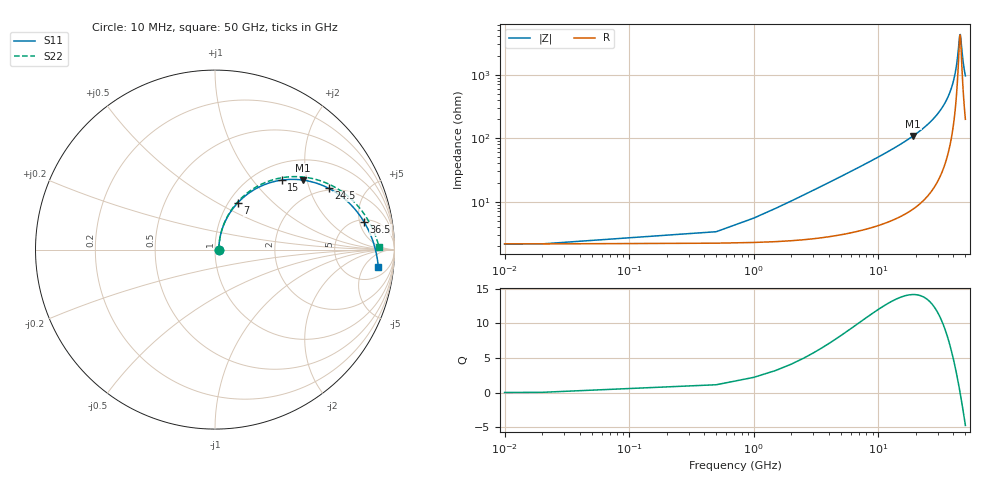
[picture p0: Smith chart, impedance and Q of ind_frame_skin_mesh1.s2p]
! Created with skrf 2.1.0 (http://scikit-rf.org).
# GHz S DB R 50.0
! Port[1] = P1
! Port[2] = P2
!freq dBS11 angS11 dBS21 angS21 dBS12 angS12 dBS22 angS22
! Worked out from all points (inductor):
!   102 points, 10 MHz to 50 GHz, reference 50 ohm
!   read as 1/Y11, port 2 shorted: L = 790 pH near 1.5 GHz
!   highest Q = 14.1 at 19 GHz (marker M1), where L = 902 pH
!   self-resonance near 45 GHz
!   S11 on the Smith chart (normalised r, x): 10 MHz: 1.04, +0.00; 7 GHz: 1.10, +0.63; 15 GHz: 1.31, +1.42; 24.5 GHz: 1.92, +2.71; 36.5 GHz: 5.44, +5.86; 50 GHz: 9, -11
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0.01  -33.51 1.2  -0.19 -0.0  -0.19 -0.0  -33.51 1.2
0.5  -30.18 44.4  -0.19 -1.6  -0.19 -1.6  -30.18 44.4
1  -26.16 60.7  -0.21 -3.1  -0.21 -3.1  -26.16 60.8
1.5  -23.15 66.9  -0.23 -4.6  -0.23 -4.6  -23.15 67.1
2  -20.87 69.6  -0.25 -6.1  -0.25 -6.1  -20.87 69.8
2.5  -19.05 70.6  -0.28 -7.5  -0.28 -7.5  -19.06 70.8
3.5  -16.30 70.5  -0.35 -10.4  -0.35 -10.4  -16.30 70.8
4.5  -14.25 69.1  -0.43 -13.2  -0.43 -13.2  -14.26 69.6
5.5  -12.64 67.2  -0.52 -16.0  -0.52 -16.0  -12.65 67.9
7  -10.75 64.0  -0.68 -20.0  -0.68 -20.0  -10.76 64.8
8.5  -9.29 60.6  -0.87 -23.9  -0.87 -23.9  -9.30 61.6
11.5  -7.13 53.8  -1.30 -31.3  -1.30 -31.3  -7.14 55.2
15  -5.42 46.2  -1.89 -39.2  -1.89 -39.2  -5.43 48.0
17  -4.68 42.1  -2.25 -43.4  -2.25 -43.4  -4.69 44.2
19  -4.08 38.2  -2.63 -47.4  -2.63 -47.4  -4.09 40.5
24.5  -2.86 28.4  -3.72 -57.2  -3.72 -57.2  -2.88 31.4
25.5  -2.70 26.7  -3.93 -58.9  -3.93 -58.9  -2.71 29.9
29.5  -2.14 20.5  -4.75 -65.1  -4.75 -65.1  -2.15 24.1
33.5  -1.72 14.7  -5.58 -70.7  -5.58 -70.7  -1.73 18.9
36.5  -1.47 10.6  -6.21 -74.7  -6.21 -74.7  -1.48 15.2
42  -1.12 3.5  -7.38 -81.5  -7.38 -81.5  -1.13 9.0
50  -0.77 -6.2  -9.14 -90.5  -9.14 -90.5  -0.78 0.7
